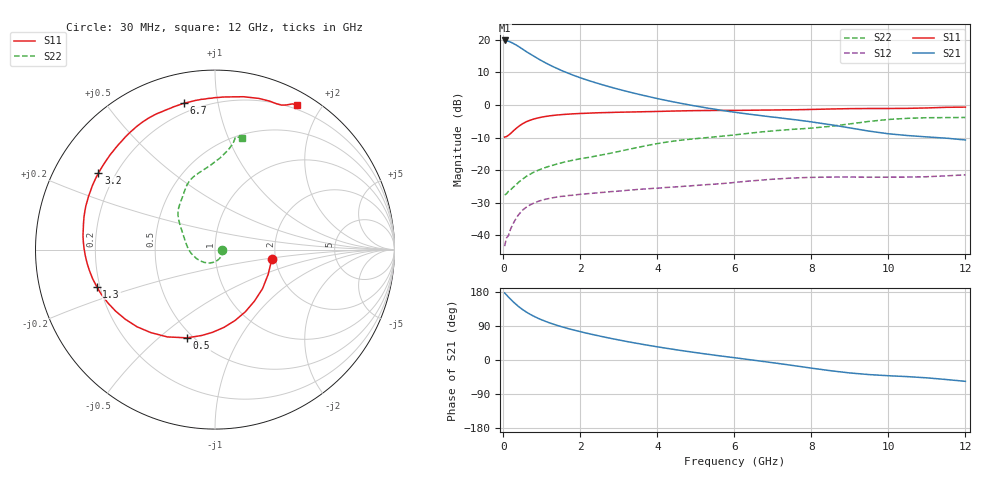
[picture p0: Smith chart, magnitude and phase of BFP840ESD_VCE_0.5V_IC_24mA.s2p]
! Infineon Technologies  Discrete & RF Semiconductors
! BFP840ESD
! VCE =  0.5 V,  IC =  24 mA
! Common Emitter S-Parameters:  May 2012
# GHz  S  MA  R  50
!  f  S11  S21  S12  S22
! GHz  MAG  ANG  MAG  ANG  MAG  ANG  MAG  ANG
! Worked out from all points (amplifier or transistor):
!   93 points, 30 MHz to 12 GHz, reference 50 ohm
!   highest |S21| = 19.8 dB at 30 MHz (marker M1)
!   |S21| within 3 dB of that: start of sweep to 540.1 MHz
!   unconditionally stable (mu >= 1): start of sweep to end of sweep
!   at 1.1 GHz: K = 1.80, MAG = 15.7 dB, |S12| = -28.9 dB
!   at 4.2 GHz: K = 2.81, MAG = 6.1 dB, |S12| = -25.4 dB
!   at 12 GHz: K = 2.18, MAG = -0.8 dB, |S12| = -21.5 dB
!   S11 on the Smith chart (normalised r, x): 30 MHz: 1.91, -0.23; 500 MHz: 0.46, -0.62; 1.3 GHz: 0.19, -0.15; 3.2 GHz: 0.14, +0.29; 6.7 GHz: 0.15, +0.80; 12 GHz: 0.15, +1.71
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0.03  0.3211 -9.6  9.76 177.1  0.0068 15.5  0.0415 -0.3
0.13  0.3428 -39.4  9.482 166.2  0.0099 31.8  0.0472 -30.8
0.23  0.3855 -64.0  8.943 156.0  0.0142 43.2  0.053 -54.9
0.28  0.4108 -74.3  8.62 151.1  0.0162 46.1  0.0563 -64.7
0.38  0.4608 -91.6  7.961 142.3  0.0202 45.6  0.0639 -83.0
0.5  0.516 -107.7  7.168 132.9  0.0244 43.6  0.0728 -100.2
0.6  0.5541 -118.6  6.541 126.2  0.0271 41.2  0.0806 -112.0
0.7  0.5846 -127.7  6.022 120.2  0.0294 39.0  0.0868 -122.1
0.9  0.6325 -142.1  5.12 110.1  0.0331 34.9  0.0992 -138.2
1.1  0.6666 -153.5  4.404 101.7  0.0358 31.2  0.11 -150.3
1.3  0.6907 -162.6  3.847 94.5  0.0378 29.1  0.1194 -159.8
1.7  0.7234 -177.3  3.037 82.4  0.0408 25.5  0.1374 -173.9
2.1  0.7428 171.1  2.488 72.3  0.043 22.7  0.1528 175.5
2.6  0.7616 159.1  2.015 61.0  0.0455 20.8  0.1731 163.8
3.2  0.7766 146.8  1.616 48.9  0.0489 18.9  0.2051 152.2
4.1  0.7969 130.9  1.216 33.1  0.0533 15.3  0.2611 140.7
5  0.8178 119.3  0.96 19.5  0.0581 12.7  0.3039 132.1
6.1  0.8254 108.2  0.759 4.8  0.0655 8.9  0.3523 120.4
6.7  0.8333 102.1  0.684 -3.3  0.0703 5.1  0.3851 114.7
8.5  0.8662 79.5  0.497 -28.3  0.0781 -9.5  0.4699 93.2
10.5  0.8866 65.2  0.339 -43.9  0.0781 -20.2  0.623 79.9
12  0.9261 60.3  0.29 -56.3  0.0845 -25.8  0.6417 76.4
